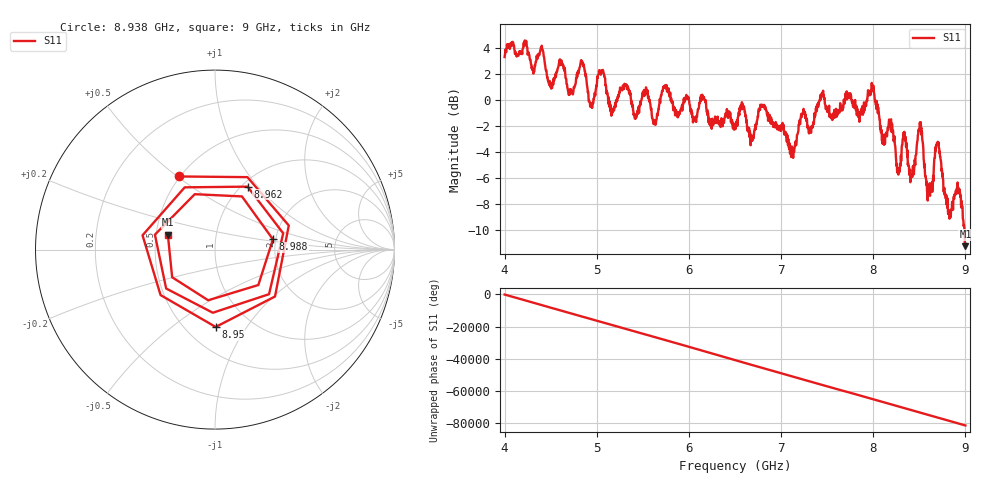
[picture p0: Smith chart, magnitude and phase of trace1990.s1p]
! Created with skrf 1.8.0 (http://scikit-rf.org).
# Hz S RI R 50.0
!freq ReS11 ImS11
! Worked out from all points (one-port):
!   1601 points, 4 GHz to 9 GHz, reference 50 ohm
!   lowest |S11| = -11.2 dB at 9 GHz (marker M1), VSWR 1.76, Z = 28.9 + j5.15 ohm
!   |S11| at or under -10 dB: 8.990162 GHz to end of sweep
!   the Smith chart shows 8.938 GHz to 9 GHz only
!   S11 on the Smith chart (normalised r, x): 8.938 GHz: 0.49, +0.51; 8.95 GHz: 0.69, -0.73; 8.962 GHz: 1.06, +0.88; 8.988 GHz: 1.93, +0.25; 9 GHz: 0.58, +0.10
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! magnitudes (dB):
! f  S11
! 4 GHz  3.3
! 4.625 GHz  2.8
! 4.719 GHz  0.8
! 4.847 GHz  2.8
! 4.938 GHz  -0.3
! 5.047 GHz  2.2
! 5.162 GHz  -0.9
! 5.25 GHz  0.6
! 5.875 GHz  -0.9
! 6.5 GHz  -2.1
! 6.688 GHz  -3.1
! 6.803 GHz  -0.5
! 7.125 GHz  -4.2
! 7.438 GHz  0.5
! 7.75 GHz  0.5
! 7.988 GHz  0.9
! 8.272 GHz  -5.7
! 8.375 GHz  -5.0
! 8.428 GHz  -5.6
! 8.509 GHz  -2.0
! 8.6 GHz  -7.2
! 8.697 GHz  -3.3
! 8.819 GHz  -8.7
! 8.938 GHz  -6.8
! 8.95 GHz  -7.3
! 8.962 GHz  -8.1
! 8.988 GHz  -9.7
! 9 GHz  -11.2
